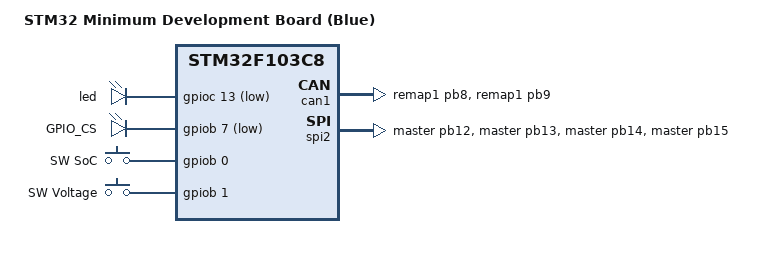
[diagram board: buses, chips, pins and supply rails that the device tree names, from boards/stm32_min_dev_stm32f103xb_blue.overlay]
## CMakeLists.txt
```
# SPDX-License-Identifier: Apache-2.0

cmake_minimum_required(VERSION 3.20.0)


find_package(Zephyr REQUIRED HINTS $ENV{ZEPHYR_BASE})
project(zephyr_stm32)

zephyr_include_directories(${CMAKE_CURRENT_SOURCE_DIR}/src)

target_sources(app PRIVATE src/main.c src/MFRC522.c)
```

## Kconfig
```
# Private config options

mainmenu "Zephyr_STM32 Project"

config LOOPBACK_MODE
	bool "Loopback LOOPBACK_MODE"
	default y
	help
	  Set the controller to loopback mode.
	  This allows testing without a second board.

source "Kconfig.zephyr"
```

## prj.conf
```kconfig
CONFIG_CAN=y
CONFIG_GPIO=y
CONFIG_SPI=y
CONFIG_ADC=y

CONFIG_MAIN_STACK_SIZE=1024
CONFIG_LOG=y
CONFIG_LOG_DEFAULT_LEVEL=3

CONFIG_BINDESC=y
CONFIG_BINDESC_DEFINE=y
```

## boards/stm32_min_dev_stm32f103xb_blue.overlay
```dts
/*
 * Copyright (c) 2017, embedjournal.com
 *
 * SPDX-License-Identifier: Apache-2.0
 */

/ {
	model = "STM32 Minimum Development Board (Blue)";
	compatible = "stm32_min_dev_blue", "st,stm32f103c8";
	
    chosen {
        zephyr,canbus = &can1;
		zephyr,spi = &spi2;
    };
        
	leds {
		led: led {
			gpios = <&gpioc 13 GPIO_ACTIVE_LOW>;
		};
		gpio_cs: gpio_cs {
			gpios = <&gpiob 7  GPIO_ACTIVE_LOW>;
			label = "GPIO_CS";
		};
	};
	
	gpio_keys {
		compatible = "gpio-keys";
		switchSoC: button {
			label = "SW SoC";
			gpios = <&gpiob 0 GPIO_ACTIVE_HIGH>;
		};
		switchVolt: button2 {
			label = "SW Voltage";
			gpios = <&gpiob 1 GPIO_ACTIVE_HIGH>;
		};
	};	
	
	aliases {
		sw0 = &switchSoC;
		sw1 = &switchVolt;
		cs = &gpio_cs;
	};
};

/*
&adc1 {
    status = "okay";
    #address-cells = <1>;
    #size-cells = <0>;

	channel@0 {
		reg = <0>;
		zephyr,gain = "ADC_GAIN_1";
		zephyr,reference = "ADC_REF_INTERNAL";
		zephyr,acquisition-time = <ADC_ACQ_TIME_DEFAULT>;
		zephyr,resolution = <12>;
	};

	channel@1 {
		reg = <1>;
		zephyr,gain = "ADC_GAIN_1";
		zephyr,reference = "ADC_REF_INTERNAL";
		zephyr,acquisition-time = <ADC_ACQ_TIME_DEFAULT>;
		zephyr,resolution = <12>;
	};
};
*/

&can1 {
        pinctrl-0 = <&can_rx_remap1_pb8 &can_tx_remap1_pb9>;
        pinctrl-names = "default";
        status = "okay";
};

&spi2 {
	pinctrl-0 = <&spi2_nss_master_pb12 &spi2_sck_master_pb13
		     &spi2_miso_master_pb14 &spi2_mosi_master_pb15>;
	pinctrl-names = "default";
	status = "okay";
};

&gpioa {
	status = "okay";
};

&gpiob {
	status = "okay";
};
```

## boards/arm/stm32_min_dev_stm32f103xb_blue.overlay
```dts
/*
 * Copyright (c) 2017, embedjournal.com
 *
 * SPDX-License-Identifier: Apache-2.0
 */

/ {
	model = "STM32 Minimum Development Board (Blue)";
	compatible = "stm32_min_dev_blue", "st,stm32f103c8";

	leds {
		led: led {
			gpios = <&gpioc 13 GPIO_ACTIVE_LOW>;
		};
	};
};

&adc1 {
    status = "okay";
    #address-cells = <1>;
    #size-cells = <0>;

    ch0: channel@0 {
        reg = <0>;
        zephyr,gain = "ADC_GAIN_1";
        zephyr,reference = "ADC_REF_INTERNAL";
        zephyr,resolution = <12>;
        zephyr,acquisition-time = <ADC_ACQ_TIME_DEFAULT>;
    };
    ch1: channel@1 {
        reg = <1>;
        zephyr,gain = "ADC_GAIN_1";
        zephyr,reference = "ADC_REF_INTERNAL";
        zephyr,resolution = <12>;
        zephyr,acquisition-time = <ADC_ACQ_TIME_DEFAULT>;
    };
};
```

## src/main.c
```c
#include <stdio.h>
#include <zephyr/kernel.h>
#include <zephyr/device.h>
#include <zephyr/drivers/can.h>
#include <zephyr/drivers/adc.h>
#include <zephyr/drivers/gpio.h>
#include <zephyr/sys/byteorder.h>
#include <zephyr/sys/printk.h>
#include <zephyr/logging/log.h>
#include <zephyr/bindesc.h>
#include "MFRC522.h"

LOG_MODULE_REGISTER(zephyr_stm32);
BINDESC_STR_DEFINE(app_version, BINDESC_ID_APP_VERSION_STRING, "1.0.0");

#define ADC_THREAD_STACK_SIZE 1024
#define ADC_THREAD_PRIORITY 7
#define CAN_THREAD_STACK_SIZE 1024
#define CAN_THREAD_PRIORITY 7
#define MFRC522_THREAD_STACK_SIZE 1024
#define MFRC522_THREAD_PRIORITY 7

#define ADC_NODE DT_NODELABEL(adc1)
#define ADC_RESOLUTION 12
#define ADC_GAIN ADC_GAIN_1
#define ADC_REFERENCE ADC_REF_INTERNAL

#define ADC_CHANNEL_ID_0 0
#define ADC_CHANNEL_ID_1 1

#define CANBUS_NODE DT_CHOSEN(zephyr_canbus)
#define LED0_NODE DT_ALIAS(led0)
#define SW0_NODE DT_ALIAS(sw0)
#define SW1_NODE DT_ALIAS(sw1)

K_THREAD_STACK_DEFINE(adc_thread_stack, ADC_THREAD_STACK_SIZE);
K_THREAD_STACK_DEFINE(can_thread_stack, CAN_THREAD_STACK_SIZE);
K_THREAD_STACK_DEFINE(mfrc522_thread_stack, MFRC522_THREAD_STACK_SIZE);

struct gpio_dt_spec buttonSoC = GPIO_DT_SPEC_GET(SW0_NODE, gpios);
struct gpio_dt_spec buttonVolt = GPIO_DT_SPEC_GET(SW1_NODE, gpios);
static const struct device *adc_dev = DEVICE_DT_GET(ADC_NODE);
static const struct device *can_dev = DEVICE_DT_GET(CANBUS_NODE);
struct gpio_dt_spec led = GPIO_DT_SPEC_GET(LED0_NODE, gpios);
//static const struct device *gpio_dev;
static int16_t adc_sample_buffer1[1], adc_sample_buffer2[1];

struct k_thread adc_thread_data;
struct k_thread can_thread_data;
struct k_thread mfrc522_thread_data;

struct EVSE_voltAmp {
    float presentVoltage;
    float presentCurrent;
	float targetVoltage;
	float targetCurrent;
}evse_voltAmp;

struct EVSE_status {
	uint8_t evseState;
	uint8_t evse_session_result;
	uint8_t err_no_available_power_module:1;
	uint8_t err_power_module:1;
	uint8_t err_contactor:1;
	uint8_t err_PLC_box_rx_timeout:1;
	uint8_t err_current_sensor_rx_timeout:1;
	uint8_t err_CP:1;
	uint8_t CPstate:3;
}evse_status;

struct EVSE_whTime {
	uint32_t evseElapsedChargeTime;
	float evseDeliveredEnergy;
}evse_whTime;

struct SECC_MSG4 {
	uint8_t EVReady:1;
	uint8_t EVCabinConditioning:1;
	uint8_t EVRESSConditioning:1;
	uint8_t BulkChargingComplete:1;
	uint8_t ChargingComplete:1;
	uint8_t EVErrorCode;
	uint16_t EVStatus_EVRESSSOC;
}secc_msg4;


uint8_t can_data_600[8];
uint8_t can_data_601[8];
uint8_t can_data_602[8];
uint8_t can_data_15110007[8];
uint8_t can_data_DEADBEEF[8];


struct can_frame can_frame_600 = {
	.flags = 0,
	.id = 0x600,
	.dlc = 4
};
struct can_frame can_frame_601 = {
	.flags = 0,
	.id = 0x601,
	.dlc = 4
};
struct can_frame can_frame_602 = {
	.flags = 0,
	.id = 0x602,
	.dlc = 7
};
struct can_frame can_frame_15110007 = {
	.flags = CAN_FRAME_IDE,
	.id = 0x15110007,
	.dlc = 3,
};
struct can_frame can_frame_DEADBEEF = {
	.flags = CAN_FRAME_IDE,
	.id = 0x1,
	.dlc = 5,
};

int btnStatePlug, btnStateCharge;
uint8_t status;
uint8_t UUID[MAX_LEN];
uint8_t detectedUUID[MAX_LEN];
bool isRFIDCardDetected = false;

void adc_read_channels();
void can_send_message();
void adc_task_handler(void *arg1, void *arg2, void *arg3);
void can_task_handler(void *arg1, void *arg2, void *arg3);
void mfrc522_task_handler(void *arg1, void *arg2, void *arg3);
void encode_EVSE_voltAmp(uint8_t *canBuffer, struct EVSE_voltAmp *voltAmp);
void encode_EVSE_status(uint8_t *canBuffer, struct EVSE_status *status);
void encode_EVSE_whTime(uint8_t *canBuffer, struct EVSE_whTime *whTime);
void encode_SECC_MSG4(uint8_t *canBuffer, struct SECC_MSG4 *msg4);
void writeCanBits(uint64_t *canMsg, int startBit, int bitLen, uint64_t bits);
void writeCanParam(uint64_t *canMsg, int startBit, int bitLen, float param, float resl, float ofset);
void can64toCanBytes(uint64_t can64, uint8_t *canBytes);
long map(long x, long in_min, long in_max, long out_min, long out_max);

int main(void)
{
    int ret;
	k_tid_t adc_tid, can_tid, mfrc522_tid;
    printf("Starting Zephyr Project\n");

    if(!device_is_ready(adc_dev))
    {
        printf("ADC: Device %s not ready.\n", adc_dev->name);
    }

	printf("ADC: Device %s is initialized.\n", adc_dev->name);

    if(!device_is_ready(can_dev))
    {
        printf("CAN: Device %s not ready.\n", can_dev->name);
    }

    ret = can_set_mode(can_dev, CAN_MODE_NORMAL);
    if (0 != ret)
    {
		printf("Error setting CAN mode [%d]\n", ret);
		return -1;  
    }
    ret = can_start(can_dev);
	if (0 != ret)
	{
		printf("Error starting CAN controller [%d]\n", ret);
		return 0;
	}

    printf("CAN: Device %s is initialized.\n", can_dev->name);

    if (buttonSoC.port != NULL)
    {
		if (!gpio_is_ready_dt(&buttonSoC))
		{
			printf("SW: Device is not ready.\n");
			return -1;
		}
		ret = gpio_pin_configure_dt(&buttonSoC, GPIO_INPUT);
		if (ret < 0)
		{
			printf("Error setting SW pin to input mode [%d]", ret);
			buttonSoC.port = NULL;
		}
    }

    if (buttonVolt.port != NULL)
    {
		if (!gpio_is_ready_dt(&buttonVolt))
		{
			printf("SW: Device is not ready.\n");
			return -1;
		}
		ret = gpio_pin_configure_dt(&buttonVolt, GPIO_INPUT);
		if (ret < 0)
		{
			printf("Error setting SW pin to input mode [%d]", ret);
			buttonVolt.port = NULL;
		}
    }

	if (led.port != NULL)
	{
		if (!gpio_is_ready_dt(&led))
		{
			printf("LED: Device %s not ready.\n", led.port->name);
			return -1;
		}
		ret = gpio_pin_configure_dt(&led, GPIO_OUTPUT_HIGH);
		if (ret < 0)
		{
			printf("Error setting LED pin to output mode [%d]", ret);
			led.port = NULL;
		}
	}

	SPI_Init();
	MFRC522_Init();

	printf("Device initializations are finished\n");
	
	adc_tid = k_thread_create(
		&adc_thread_data,
		adc_thread_stack,
		K_THREAD_STACK_SIZEOF(adc_thread_stack),
		adc_task_handler,
		NULL,NULL,NULL,
		ADC_THREAD_PRIORITY, 0,K_NO_WAIT);
	if (!adc_tid)
	{
		printf("ERROR spawning ADC THREAD\n");
	}
	

	can_tid = k_thread_create(
		&can_thread_data,
		can_thread_stack,
		K_THREAD_STACK_SIZEOF(can_thread_stack),
		can_task_handler,
		NULL,NULL,NULL,
		CAN_THREAD_PRIORITY, 0,K_NO_WAIT);
	if (!can_tid)
	{
		printf("ERROR spawning CAN THREAD\n");
	}

	mfrc522_tid = k_thread_create(
		&mfrc522_thread_data,
		mfrc522_thread_stack,
		K_THREAD_STACK_SIZEOF(mfrc522_thread_stack),
		mfrc522_task_handler,
		NULL,NULL,NULL,
		MFRC522_THREAD_PRIORITY, 0,K_NO_WAIT);
	if (!mfrc522_tid)
	{
		printf("ERROR spawning MFRC522 THREAD\n");
	}

	printf("Starting Zephyr App\n");
}

void adc_read_channels()
{
    struct adc_sequence sequence_1 = {
        .channels = BIT(ADC_CHANNEL_ID_0),
        .buffer = adc_sample_buffer1,
        .buffer_size = sizeof(adc_sample_buffer1),
        .resolution = ADC_RESOLUTION,
    };
    struct adc_sequence sequence_2 = {
        .channels = BIT(ADC_CHANNEL_ID_1),
        .buffer = adc_sample_buffer2,
        .buffer_size = sizeof(adc_sample_buffer2),
        .resolution = ADC_RESOLUTION,
    };


    if (0 != adc_read(adc_dev, &sequence_1))
    {
        printf("ADC read failed\n");
    }
	if (0 != adc_read(adc_dev, &sequence_2))
    {
        printf("ADC read failed\n");
    } 
    btnStateCharge = gpio_pin_get_dt(&buttonSoC);
    btnStatePlug = gpio_pin_get_dt(&buttonVolt);

    /*
    printf("ADC readings: %d, %d\nDigital Input readings : %d, %d\n",
                adc_sample_buffer1[0], adc_sample_buffer2[0],
                btnStateCharge, btnStatePlug);
	*/
    
}

void can_send_message()
{
	adc_sample_buffer1[0] = map(adc_sample_buffer1[0], 0, 4095, 0, 4000);
	int16_t cnst_current = 11000;

	can_frame_600.data[0] = (btnStateCharge == 0x01) ? 0x0E : 0x07;
	can_frame_600.data[3] = ((btnStatePlug == 0x01) ? 0x02 : 0x01) << 3;
    can_frame_601.data[0] = adc_sample_buffer1[0] & 0xFF;
    can_frame_601.data[1] = (adc_sample_buffer1[0] >> 8) & 0xFF;
    can_frame_601.data[2] = cnst_current & 0xFF;
    can_frame_601.data[3] = (cnst_current >> 8) & 0xFF;
	can_frame_15110007.data[2] = map(adc_sample_buffer2[0], 0, 4095, 0, 100);

	if (true == isRFIDCardDetected)
	{	
		can_frame_DEADBEEF.data[0] = UUID[0];
		can_frame_DEADBEEF.data[1] = UUID[1];
		can_frame_DEADBEEF.data[2] = UUID[2];
		can_frame_DEADBEEF.data[3] = UUID[3];
		can_frame_DEADBEEF.data[4] = UUID[4];
	}
	else if(false == isRFIDCardDetected)
	{
		can_frame_DEADBEEF.data[0] = 0x00;
		can_frame_DEADBEEF.data[1] = 0x00;
		can_frame_DEADBEEF.data[2] = 0x00;
		can_frame_DEADBEEF.data[3] = 0x00;
		can_frame_DEADBEEF.data[4] = 0x00;
	}

	//encode_EVSE_status(can_frame_600.data, &evse_status);
	//encode_EVSE_voltAmp(can_frame_601.data, &evse_voltAmp);
	//encode_EVSE_whTime(can_frame_602.data, &evse_whTime);
	//encode_SECC_MSG4(can_frame_15110007.data, &secc_msg4);

	/*
	memcpy(can_frame_600.data, can_data_600, 8 * sizeof(can_data_600[0]));
	memcpy(can_frame_601.data, can_data_601, 8 * sizeof(can_data_601[0]));
	memcpy(can_frame_602.data, can_data_602, 8 * sizeof(can_data_602[0]));
	memcpy(can_frame_15110007.data, can_data_15110007, 8 * sizeof(can_data_15110007[0]));
	*/
	can_send(can_dev, &can_frame_600, K_MSEC(100), NULL, NULL);
	can_send(can_dev, &can_frame_601, K_MSEC(100), NULL, NULL);
	can_send(can_dev, &can_frame_602, K_MSEC(100), NULL, NULL);
	can_send(can_dev, &can_frame_15110007, K_MSEC(100), NULL, NULL);
	can_send(can_dev, &can_frame_DEADBEEF, K_MSEC(100), NULL, NULL);
	/*
	can_frame_600.data[0] = (uint8_t)btnStateCharge;
	can_frame_600.data[3] =  (uint8_t)btnStatePlug;

	can_frame_601.data[0] = adc_sample_buffer1[0] & 0xFF;
	can_frame_601.data[1] = (adc_sample_buffer1[0] >> 8) & 0xFF;
	*/

	//memset(UUID, 0x00, MAX_LEN*sizeof(uint8_t));
	/*
    can_frame.data[0] = adc_sample_buffer1[0] & 0xFF;
    can_frame.data[1] = (adc_sample_buffer1[0] >> 8) & 0xFF;
    can_frame.data[2] = adc_sample_buffer2[0] & 0xFF;
    can_frame.data[3] = (adc_sample_buffer2[0] >> 8) & 0xFF;
    can_frame.data[4] = btnStatePlug & 0xFF;
    can_frame.data[5] = btnStateCharge & 0xFF;
    can_frame.data[6] = 0x00;
    can_frame.data[7] = 0x00;
    if (can_send(can_dev, &can_frame, K_MSEC(100), NULL, NULL) != 0)
    {
        printf("CAN send failed\n");
        gpio_pin_set_dt(&led, 0);
    } 
    else
    {
        //printf("CAN message sent\n");
        gpio_pin_toggle_dt(&led);
        //gpio_pin_set_dt(&led, 1);
    }
	*/
}

void adc_task_handler(void *arg1, void *arg2, void *arg3)
{
	ARG_UNUSED(arg1);
	ARG_UNUSED(arg2);
	ARG_UNUSED(arg3);
    while (1)
	{
        adc_read_channels();
        k_sleep(K_MSEC(25));
    }
}

void can_task_handler(void *arg1, void *arg2, void *arg3)
{
	ARG_UNUSED(arg1);
	ARG_UNUSED(arg2);
	ARG_UNUSED(arg3);
    while (1) 
	{
        can_send_message();
        k_sleep(K_MSEC(100));
    }
}

void mfrc522_task_handler(void *arg1, void *arg2, void *arg3)
{
	ARG_UNUSED(arg1);
	ARG_UNUSED(arg2);
	ARG_UNUSED(arg3);
	while ( 1 )
    {
        status = MFRC522_Request(PICC_REQIDL, UUID);
		if ( status == MI_OK )
		{
			status = MFRC522_Anticoll(UUID);
			if ( status == MI_OK )
			{
				isRFIDCardDetected = true;
			}
			else
			{
				isRFIDCardDetected = false;
			}
		}
		else if ( status == MI_ERR )
		{
			//printf("RFID is not ready.\n");
			isRFIDCardDetected = false;
		}	

		//memset(UUID, 0x00, MAX_LEN*sizeof(uint8_t));
		k_sleep(K_MSEC(25));
    }
}

void encode_EVSE_voltAmp(uint8_t *canBuffer, struct EVSE_voltAmp *voltAmp)
{
	uint64_t canMsg = 0ULL;
	writeCanParam( &canMsg, 0, 16, voltAmp->presentVoltage, 0.1, 0 );
	writeCanParam( &canMsg, 16, 16, voltAmp->presentCurrent, 0.1, 0 );
	can64toCanBytes( canMsg, canBuffer );
}

void encode_EVSE_status(uint8_t *canBuffer, struct EVSE_status *status)
{
	uint64_t canMsg = 0ULL;
	writeCanBits( &canMsg, 0, 8, status->evseState );
	writeCanBits( &canMsg, 27, 3, status->CPstate );
	can64toCanBytes( canMsg, canBuffer );
}

void encode_EVSE_whTime(uint8_t *canBuffer, struct EVSE_whTime *whTime)
{
	uint64_t canMsg = 0ULL;
	writeCanBits( &canMsg, 0, 32, whTime->evseElapsedChargeTime );
	writeCanParam( &canMsg, 32, 32, whTime->evseDeliveredEnergy, 0.001, 0 );
	can64toCanBytes( canMsg, canBuffer );
}

void encode_SECC_MSG4(uint8_t *canBuffer, struct SECC_MSG4 *msg4)
{
	uint64_t canMsg = 0ULL;
	writeCanBits( &canMsg, 16, 8, msg4->EVStatus_EVRESSSOC );
	can64toCanBytes( canMsg, canBuffer );
}

void writeCanBits(uint64_t *canMsg, int startBit, int bitLen, uint64_t bits)
{
    uint64_t mask;

    mask = (0xFFFFFFFFFFFFFFFF<<startBit) & (0xFFFFFFFFFFFFFFFF>>(64-(startBit+bitLen)));
    bits<<=startBit;

    *canMsg &=~mask;
    *canMsg |= (mask&bits);
}

void writeCanParam(uint64_t *canMsg, int startBit, int bitLen, float param, float resl, float ofset)
{
    uint64_t mask;
    uint64_t bits=(param-ofset)/resl;
    mask = (0xFFFFFFFFFFFFFFFF<<startBit) & (0xFFFFFFFFFFFFFFFF>>(64-(startBit+bitLen)));
    bits<<=startBit;
    *canMsg &=~mask;
    *canMsg |= (mask&bits);
}

void can64toCanBytes(uint64_t can64, uint8_t *canBytes)
{
    int i;
    uint8_t *ptr=(uint8_t *)&can64;
    for(i=0; i<8; i++)
	{
        canBytes[i]= ptr[7-i];
    }
}

long map(long x, long in_min, long in_max, long out_min, long out_max)
{
	long res = (x - in_min) * (out_max - out_min) / (in_max - in_min) + out_min;
	if( res < out_min )
	{
		return out_min;
	} 
	else if ( res > out_max ) 
	{
		return out_max;
	} 
	else
	{
		return res;
	}
}
```

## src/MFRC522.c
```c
#include <stdio.h>
#include "MFRC522.h"

#include <zephyr/kernel.h>
#include <zephyr/device.h>
#include <zephyr/sys/printk.h>
#include <zephyr/drivers/gpio.h>
#include <zephyr/drivers/spi.h>

#define GPIO_CS_NODE    DT_ALIAS(cs)
#define SPI1_NODE       DT_CHOSEN(zephyr_spi)

static inline void Write_MFRC522(uint8_t addr, uint8_t val);
static inline uint8_t Read_MFRC522(uint8_t addr);
static inline uint8_t MFRC522_ToCard(uint8_t command, uint8_t *sendData, uint8_t sendLen, uint8_t *backData, uint16_t *backLen);
static inline void SetBitMask(uint8_t reg, uint8_t mask);
static inline void ClearBitMask(uint8_t reg, uint8_t mask);
static inline void CalculateCRC(uint8_t *pIndata, uint8_t len, uint8_t *pOutData);
static inline void AntennaOn(void);

const struct device *spi_dev;
struct gpio_dt_spec gpio_cs = GPIO_DT_SPEC_GET(GPIO_CS_NODE, gpios);

struct spi_config spi_cfg;
struct spi_cs_control chip;

struct spi_buf tx_buf;
struct spi_buf rx_buf;


static inline void Write_MFRC522(uint8_t addr, uint8_t val)
{
    uint8_t command = (addr << 1) & 0x7E;
    struct spi_buf_set tx_bufs;
    struct spi_buf txb[2];

    txb[0].buf = &command;
    txb[0].len = 1;
    txb[1].buf = &val;
    txb[1].len = 1;

    tx_bufs.buffers = txb;
    tx_bufs.count = 2;

    int ret = spi_write(spi_dev, &spi_cfg, &tx_bufs);
    if ( ret != 0 )
    {
        printk("SPI write failed with error : %d\n", ret);
    }

    //gpio_pin_set_dt(&gpio_cs, 0);
    /*
	RC522_SPI_Transfer((addr<<1)&0x7E);
	RC522_SPI_Transfer(val);
    */
    //gpio_pin_set_dt(&gpio_cs, 1);
}

static inline uint8_t Read_MFRC522(uint8_t addr)
{
    uint8_t command = ((addr << 1) & 0x7E) | 0x80; 
    uint8_t tx_data[2] = { command, 0x00 };
    uint8_t rx_data[2] = {0};

    tx_buf.buf = tx_data;
    tx_buf.len = 2;
    rx_buf.buf = rx_data;
    rx_buf.len = 2;

    struct spi_buf_set tx = {
        .buffers = &tx_buf,
        .count = 1
    };
    struct spi_buf_set rx = {
        .buffers = &rx_buf,
        .count = 1
    };

    if ( spi_transceive(spi_dev, &spi_cfg, &tx, &rx) != 0 )
    {
        printk("Error reading register\n");
        return 0;
    }

    return rx_data[1];
}

static inline uint8_t MFRC522_ToCard(uint8_t command, uint8_t *sendData, uint8_t sendLen, uint8_t *backData, uint16_t *backLen)
{
    uint8_t status = MI_ERR;
    uint8_t irqEN = 0x00;
    uint8_t waitIRQ = 0x00;
    uint8_t lastBits;
    uint8_t n;
    uint16_t i;

    switch ( command )
    {
        case PCD_AUTHENT:
        {
            irqEN = 0x12;
            waitIRQ = 0x10;
            break;
        }
        case PCD_TRANSCEIVE:
        {
            irqEN = 0x77;
            waitIRQ = 0x30;
            break;
        }
        default:
            break;
    }

    Write_MFRC522(CommIEnReg, irqEN|0x80);	// Interrupt request
    ClearBitMask(CommIrqReg, 0x80);			// Clear all interrupt request bit
    SetBitMask(FIFOLevelReg, 0x80);			// FlushBuffer=1, FIFO Initialization

	Write_MFRC522(CommandReg, PCD_IDLE);	// NO action; Cancel the current command

    // Writing data to the FIFO
    for ( i=0; i<sendLen; i++ )
    {
        Write_MFRC522(FIFODataReg, sendData[i]);
    }

    // Execute the command
    Write_MFRC522(CommandReg, command);
    if ( command == PCD_TRANSCEIVE )
    {
        SetBitMask(BitFramingReg, 0x80);
    }

    i = 2000;
    do
    {
        n = Read_MFRC522(CommIrqReg);
        i--;
    }
    while ( (i!=0) && !(n&0x01) && !(n&waitIRQ) );

    ClearBitMask(BitFramingReg, 0x80);

    if ( i != 0 )
    {
        if ( !(Read_MFRC522(ErrorReg) & 0x01) )
        {
            status = MI_OK;
            if ( n & irqEN & 0x01 )
            {
                status = MI_NOTAGERR;
            }
            if ( command == PCD_TRANSCEIVE )
            {
                n = Read_MFRC522(FIFOLevelReg);
                lastBits = Read_MFRC522(ControlReg) & 0x07;
                if ( lastBits )
                {
                    *backLen = (n - 1) * 8 + lastBits;
                }
                else
                {
                    *backLen = n * 8;
                }
                if ( n == 0 )
                {
                    n = 1;
                }
                if ( n > MAX_LEN )
                {
                    n = MAX_LEN;
                }

                // Reading the received data in FIFO
                for ( i = 0; i < n; i++ )
                {
                    backData[i] = Read_MFRC522(FIFODataReg);
                }
            }
        }
        else
        {
            status = MI_ERR;
        }
    }
    return status;
}

static inline void SetBitMask(uint8_t reg, uint8_t mask)
{
    uint8_t tmp;
    tmp = Read_MFRC522(reg);
    Write_MFRC522(reg, tmp | mask);
}

static inline void ClearBitMask(uint8_t reg, uint8_t mask)
{
    uint8_t tmp;
    tmp = Read_MFRC522(reg);
    Write_MFRC522(reg, tmp & (~mask));  // clear bit mask
}

static inline void CalculateCRC(uint8_t *pIndata, uint8_t len, uint8_t *pOutData)
{
    uint8_t i, n;

    ClearBitMask(DivIrqReg, 0x04);
    SetBitMask(FIFOLevelReg, 0x80);

    // Writing data to the FIFO
    for ( i = 0; i < len; i++ )
    {
        Write_MFRC522(FIFODataReg, *(pIndata+i));
    }
    Write_MFRC522(CommandReg, PCD_CALCCRC);

    // Wait CRC calculation is complete
    i = 0xFF;
    do
    {
        n = Read_MFRC522(DivIrqReg);
        i--;
    }
    while ( (i != 0) && !(n & 0x04) );

    // Read CRC calculation result
    pOutData[0] = Read_MFRC522(CRCResultRegL);
    pOutData[1] = Read_MFRC522(CRCResultRegH);
}

static inline void AntennaOn(void)
{
	Read_MFRC522(TxControlReg);
	SetBitMask(TxControlReg, 0x03);
}



int SPI_Init(void)
{
    int ret;

    spi_dev = DEVICE_DT_GET(SPI1_NODE);
    if (!spi_dev)
    {
        printk("Failed to get SPI device...\n");
        return -1;
    }

    if ( !device_is_ready(gpio_cs.port) )
    {
        printk("GPIO CS device not ready\n");
    }
    ret = gpio_pin_configure_dt(&gpio_cs, GPIO_OUTPUT_ACTIVE);
    if ( ret != 0 )
    {
        printk("Failed to configure GPIO CS: %d", ret);
        return -1;
    }

    spi_cfg.frequency = 9000000;
    spi_cfg.operation = SPI_WORD_SET(8) | SPI_TRANSFER_MSB | SPI_MODE_CPOL | SPI_MODE_CPHA;
    spi_cfg.slave = 0;

    chip.gpio.port = gpio_cs.port;
    chip.gpio.pin = gpio_cs.pin;
    chip.gpio.dt_flags = GPIO_ACTIVE_LOW;
    chip.delay = 2;

    spi_cfg.cs = chip;
    printk("SPI Initialized.\n");
    return 0;
}

void MFRC522_Init(void)
{
    MFRC522_Reset();

	Write_MFRC522(TModeReg, 0x8D);		//Tauto=1; f(Timer) = 6.78MHz/TPreScaler
	Write_MFRC522(TPrescalerReg, 0x3E);	//TModeReg[3..0] + TPrescalerReg
	Write_MFRC522(TReloadRegL, 30);
	Write_MFRC522(TReloadRegH, 0);
	Write_MFRC522(TxAutoReg, 0x40);		// force 100% ASK modulation
	Write_MFRC522(ModeReg, 0x3D);		// CRC Initial value 0x6363

    AntennaOn();
}

uint8_t MFRC522_Request(uint8_t reqMode, uint8_t *tagType)
{
    uint8_t status;
    uint16_t backBits;

    Write_MFRC522(BitFramingReg, 0x07);

    tagType[0] = reqMode;
    status = MFRC522_ToCard(PCD_TRANSCEIVE, tagType, 1, tagType, &backBits);
    
    if ( ( status != MI_OK ) || (backBits != 0x10) )
    {
        status = MI_ERR;
    }

    return status;
}

uint8_t MFRC522_Anticoll(uint8_t *serNum)
{
    uint8_t status;
    uint8_t i;
    uint8_t serNumCheck = 0;
    uint16_t unLen;

    Write_MFRC522(BitFramingReg, 0x00);

    serNum[0] = PICC_ANTICOLL;
    serNum[1] = 0x20;
    status = MFRC522_ToCard(PCD_TRANSCEIVE, serNum, 2, serNum, &unLen);

    if ( status == MI_OK )
    {
        // Check card serial number
        for ( i = 0; i < 4; i++ )
        {
            serNumCheck ^= serNum[i];
        }
        if ( serNumCheck != serNum[i] )
        {
            status = MI_ERR;
        }
    }

    return status;
}

uint8_t MFRC522_SelectTag(uint8_t *serNum)
{
    uint8_t i;
    uint8_t status;
    uint8_t size;
    uint16_t recvBits;
    uint8_t buffer[9];

    buffer[0] = PICC_SElECTTAG;
    buffer[1] = 0x70;
    
    for ( i = 0; i < 5; i++ )
    {
        buffer[i+2] = *(serNum+i);
    }

    CalculateCRC(buffer, 7, &buffer[7]);
    status = MFRC522_ToCard(PCD_TRANSCEIVE, buffer, 9, buffer, &recvBits);

    if ( (status == MI_OK) && (recvBits == 0x18) )
    {
        size = buffer[0];
    }
    else 
    {
        size = 0;
    }

    return size;
}

uint8_t MFRC522_Auth(uint8_t authMode, uint8_t blockAddr, uint8_t *sectorKey, uint8_t *serNum)
{
    uint8_t status;
    uint16_t recvBits;
    uint8_t i;
    uint8_t buff[12];

    buff[0] = authMode;
    buff[1] = blockAddr;
    
    for ( i = 0; i < 6; i++ )
    {
        buff[i+2] = *(sectorKey+i);
    }
    for ( i = 0; i < 4; i++ )
    {
        buff[i+8] = *(serNum+i);
    }

    status = MFRC522_ToCard(PCD_AUTHENT, buff, 12, buff, &recvBits);

    if ( (status != MI_OK) || ( !(Read_MFRC522(Status2Reg) & 0x08 ) ) )
    {
        status = MI_ERR;
    }

    return status;
}

uint8_t MFRC522_Write(uint8_t blockAddr, uint8_t *writeData)
{
    uint8_t status;
    uint16_t recvBits; 
    uint8_t i;
    uint8_t buff[18];

    buff[0] = PICC_WRITE;
    buff[1] = blockAddr;
    
    CalculateCRC(buff, 2, &buff[2]);
    
    status = MFRC522_ToCard(PCD_TRANSCEIVE, buff, 4, buff, &recvBits);
    if ( (status != MI_OK) || (recvBits != 4) || ( (buff[0] & 0x0F) != 0x0A ) )
    {
        status = MI_ERR;
    }

    if ( status == MI_OK )
    {
        for ( i = 0; i < 16; i++ )
        {
            buff[i] = *(writeData+i);
        }
        CalculateCRC(buff, 16, &buff[16]);
        status = MFRC522_ToCard(PCD_TRANSCEIVE, buff, 18, buff, &recvBits);

        if ( (status != MI_OK) || (recvBits != 4) || ( (buff[0] & 0x0F) != 0x0A ) )
        {
            status = MI_ERR;
        }
    }

    return status;
}

uint8_t MFRC522_Read(uint8_t blockAddr, uint8_t *recvData)
{
    uint8_t status;
    uint16_t unLen;

    recvData[0] = PICC_READ;
    recvData[1] = blockAddr;
    CalculateCRC(recvData, 2, &recvData[2]);

    status = MFRC522_ToCard(PCD_TRANSCEIVE, recvData, 4, recvData, &unLen);
    if ( (status != MI_OK) || (unLen != 0x90) )
    {
        status = MI_ERR;
    }

    return status;
}

void MFRC522_Halt(void)
{
    uint16_t unLen;
    uint8_t buff[4];

    buff[0] = PICC_HALT;
    buff[1] = 0;

    CalculateCRC(buff, 2, &buff[2]);
    MFRC522_ToCard(PCD_TRANSCEIVE, buff, 4, buff, &unLen);
}

void MFRC522_Reset(void)
{
    Write_MFRC522(CommandReg, PCD_RESETPHASE);
}
```

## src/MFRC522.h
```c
#include <zephyr/device.h>
#include <zephyr/sys/printk.h>
#include <zephyr/drivers/gpio.h>
#include <zephyr/drivers/spi.h>

#define MAX_LEN 16

// MFRC522 commands. Described in chapter 10 of the datasheet.
#define PCD_IDLE              0x00               // no action, cancels current command execution
#define PCD_AUTHENT           0x0E               // performs the MIFARE standard authentication as a reader
#define PCD_RECEIVE           0x08               // activates the receiver circuits
#define PCD_TRANSMIT          0x04               // transmits data from the FIFO buffer
#define PCD_TRANSCEIVE        0x0C               // transmits data from FIFO buffer to antenna and automatically activates the receiver after transmission
#define PCD_RESETPHASE        0x0F               // resets the MFRC522
#define PCD_CALCCRC           0x03               // activates the CRC coprocessor or performs a self-test

// Commands sent to the PICC.
#define PICC_REQIDL           0x26               // REQuest command, Type A. Invites PICCs in state IDLE to go to READY and prepare for anticollision or selection. 7 bit frame.
#define PICC_REQALL           0x52               // Wake-UP command, Type A. Invites PICCs in state IDLE and HALT to go to READY(*) and prepare for anticollision or selection. 7 bit frame.
#define PICC_ANTICOLL         0x93               // Anti collision/Select, Cascade Level 1
#define PICC_SElECTTAG        0x93               // Anti collision/Select, Cascade Level 2
#define PICC_AUTHENT1A        0x60               // Perform authentication with Key A
#define PICC_AUTHENT1B        0x61               // Perform authentication with Key B
#define PICC_READ             0x30               // Reads one 16 byte block from the authenticated sector of the PICC. Also used for MIFARE Ultralight.
#define PICC_WRITE            0xA0               // Writes one 16 byte block to the authenticated sector of the PICC. Called "COMPATIBILITY WRITE" for MIFARE Ultralight.
#define PICC_DECREMENT        0xC0               // Decrements the contents of a block and stores the result in the internal data register.
#define PICC_INCREMENT        0xC1               // Increments the contents of a block and stores the result in the internal data register
#define PICC_RESTORE          0xC2               // Reads the contents of a block into the internal data register.
#define PICC_TRANSFER         0xB0               // Writes the contents of the internal data register to a block.
#define PICC_HALT             0x50               // HaLT command, Type A. Instructs an ACTIVE PICC to go to state HALT.

// Success or error code is returned when communication
#define MI_OK                 0
#define MI_NOTAGERR           1
#define MI_ERR                2

// MFRC522 registers. Described in chapter 9 of the datasheet.
// Page 0: Command and Status
#define     Reserved00            0x00
#define     CommandReg            0x01
#define     CommIEnReg            0x02
#define     DivlEnReg             0x03
#define     CommIrqReg            0x04
#define     DivIrqReg             0x05
#define     ErrorReg              0x06
#define     Status1Reg            0x07
#define     Status2Reg            0x08
#define     FIFODataReg           0x09
#define     FIFOLevelReg          0x0A
#define     WaterLevelReg         0x0B
#define     ControlReg            0x0C
#define     BitFramingReg         0x0D
#define     CollReg               0x0E
#define     Reserved01            0x0F
//Page 1: Command
#define     Reserved10            0x10
#define     ModeReg               0x11
#define     TxModeReg             0x12
#define     RxModeReg             0x13
#define     TxControlReg          0x14
#define     TxAutoReg             0x15
#define     TxSelReg              0x16
#define     RxSelReg              0x17
#define     RxThresholdReg        0x18
#define     DemodReg              0x19
#define     Reserved11            0x1A
#define     Reserved12            0x1B
#define     MifareReg             0x1C
#define     Reserved13            0x1D
#define     Reserved14            0x1E
#define     SerialSpeedReg        0x1F
//Page 2: Configuration
#define     Reserved20            0x20
#define     CRCResultRegH         0x21
#define     CRCResultRegL         0x22
#define     Reserved21            0x23
#define     ModWidthReg           0x24
#define     Reserved22            0x25
#define     RFCfgReg              0x26
#define     GsNReg                0x27
#define     CWGsPReg	          0x28
#define     ModGsPReg             0x29
#define     TModeReg              0x2A
#define     TPrescalerReg         0x2B
#define     TReloadRegH           0x2C
#define     TReloadRegL           0x2D
#define     TCounterValueRegH     0x2E
#define     TCounterValueRegL     0x2F
//Page 3: Test Registers
#define     Reserved30            0x30
#define     TestSel1Reg           0x31
#define     TestSel2Reg           0x32
#define     TestPinEnReg          0x33
#define     TestPinValueReg       0x34
#define     TestBusReg            0x35
#define     AutoTestReg           0x36
#define     VersionReg            0x37
#define     AnalogTestReg         0x38
#define     TestDAC1Reg           0x39
#define     TestDAC2Reg           0x3A
#define     TestADCReg            0x3B
#define     Reserved31            0x3C
#define     Reserved32            0x3D
#define     Reserved33            0x3E
#define     Reserved34			  0x3F

int SPI_Init(void);
void MFRC522_Init(void);
uint8_t MFRC522_Request(uint8_t reqMode, uint8_t *tagType);
uint8_t MFRC522_Anticoll(uint8_t *serNum);
uint8_t MFRC522_SelectTag(uint8_t *serNum);
uint8_t MFRC522_Auth(uint8_t authMode, uint8_t blockAddr, uint8_t *sectorKey, uint8_t *serNum);
uint8_t MFRC522_Write(uint8_t blockAddr, uint8_t *writeData);
uint8_t MFRC522_Read(uint8_t blockAddr, uint8_t *recvData);
void MFRC522_Halt(void);
void MFRC522_Reset(void);
```
